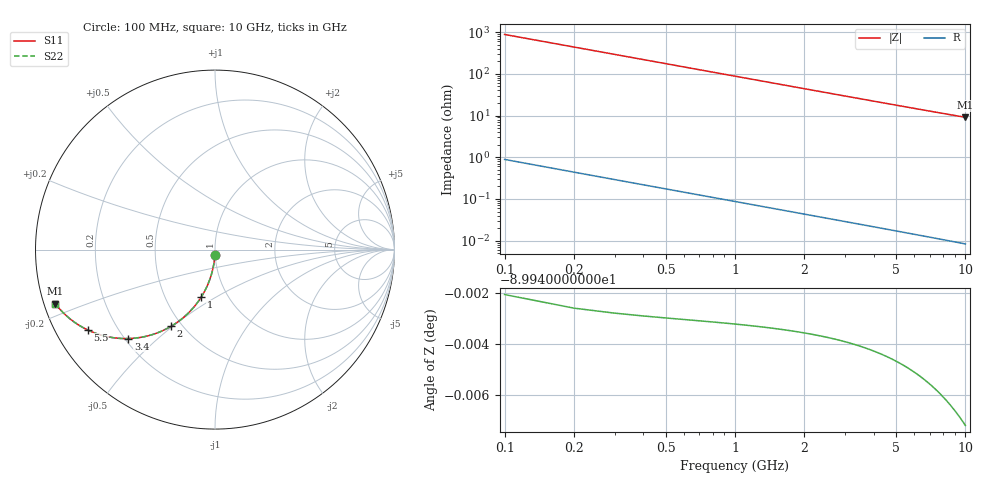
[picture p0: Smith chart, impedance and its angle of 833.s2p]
# Hz S RI R 50.00
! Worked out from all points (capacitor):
!   100 points, 100 MHz to 10 GHz, reference 50 ohm
!   read as one part in shunt: C = 1.82 pF near 100 MHz
!   lowest |Z| = 9.06 ohm at 10 GHz (marker M1)
!   S11 on the Smith chart (normalised r, x): 100 MHz: 1.00, -0.06; 1 GHz: 0.76, -0.43; 2 GHz: 0.44, -0.49; 3.4 GHz: 0.21, -0.41; 5.5 GHz: 0.10, -0.29; 10 GHz: 0.03, -0.16
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1e8  -0.000817 -0.0284  0.9991 -0.0286  0.9991 -0.0286  -0.000817 -0.0284
2e8  -0.00327 -0.0566  0.9967 -0.057  0.9967 -0.057  -0.00327 -0.0566
3e8  -0.00732 -0.0846  0.9926 -0.0852  0.9926 -0.0852  -0.00732 -0.0846
4e8  -0.0129 -0.1121  0.987 -0.113  0.987 -0.113  -0.0129 -0.1121
5e8  -0.02 -0.1391  0.9799 -0.1402  0.9799 -0.1402  -0.02 -0.1391
6e8  -0.0286 -0.1655  0.9714 -0.1667  0.9714 -0.1667  -0.0286 -0.1655
7e8  -0.0384 -0.1911  0.9615 -0.1925  0.9615 -0.1925  -0.0384 -0.1911
8e8  -0.0496 -0.2158  0.9504 -0.2175  0.9504 -0.2175  -0.0496 -0.2158
1e9  -0.0753 -0.2624  0.9246 -0.2645  0.9246 -0.2645  -0.0753 -0.2624
1.2e9  -0.1049 -0.3047  0.8951 -0.3072  0.8951 -0.3072  -0.1049 -0.3047
1.4e9  -0.1374 -0.3424  0.8625 -0.3453  0.8625 -0.3453  -0.1374 -0.3424
1.8e9  -0.2083 -0.4037  0.7917 -0.4075  0.7917 -0.4075  -0.2083 -0.4037
2e9  -0.245 -0.4275  0.7549 -0.4317  0.7549 -0.4317  -0.245 -0.4275
2.6e9  -0.3538 -0.4749  0.6461 -0.4804  0.6461 -0.4804  -0.3538 -0.4749
3e9  -0.4214 -0.4901  0.5785 -0.4964  0.5785 -0.4964  -0.4214 -0.4901
3.4e9  -0.4831 -0.4956  0.5168 -0.5028  0.5168 -0.5028  -0.4831 -0.4956
4.2e9  -0.5875 -0.4873  0.4124 -0.4962  0.4124 -0.4962  -0.5875 -0.4873
5.1e9  -0.6771 -0.4616  0.3228 -0.4725  0.3228 -0.4725  -0.6771 -0.4616
5.5e9  -0.7091 -0.4478  0.2908 -0.4595  0.2908 -0.4595  -0.7091 -0.4478
6.7e9  -0.7833 -0.4042  0.2166 -0.4187  0.2166 -0.4187  -0.7833 -0.4042
8.4e9  -0.8503 -0.347  0.1494 -0.3653  0.1494 -0.3653  -0.8503 -0.347
1e10  -0.8897 -0.3016  0.11 -0.3236  0.11 -0.3236  -0.8897 -0.3016
